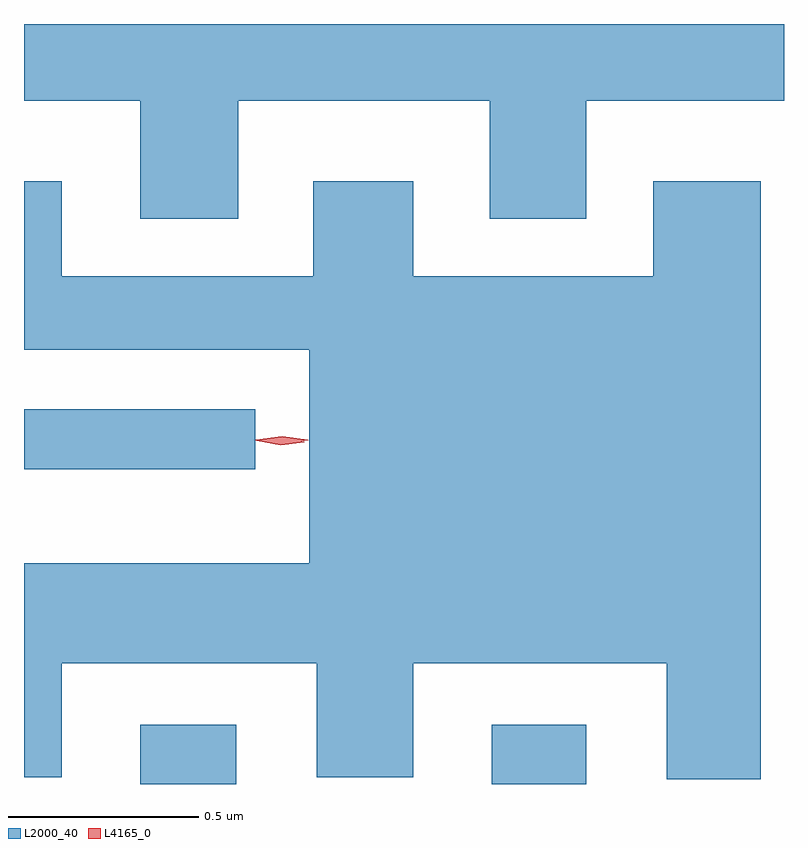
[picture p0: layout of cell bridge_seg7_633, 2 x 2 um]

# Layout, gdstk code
import gdstk
lib = gdstk.Library(unit=1e-6, precision=1e-09)
def R(c, l, rs):  # rectangles x0, y0, x1, y1
    for r in rs: c.add(gdstk.rectangle(r[:2], r[2:], *l))
def P(c, l, *ps):  # polygons
    for p in ps: c.add(gdstk.Polygon(p, *l))
L2000_40 = (2000, 40)
L4165_0 = (4165, 0)

bridge_seg7_633 = lib.new_cell('bridge_seg7_633')
R(bridge_seg7_633, L2000_40, [(787.096,1679.218,787.349,1679.374), (788.021,1679.218,788.269,1679.374), (786.79,1680.046,787.398,1680.204)])
P(bridge_seg7_633, L2000_40, [(787.354,1681.016),(788.016,1681.016),(788.016,1680.706),(788.269,1680.706),(788.269,1681.016),(788.79,1681.016),(788.79,1681.218),(786.79,1681.218),(786.79,1681.016),(787.096,1681.016),(787.096,1680.706),(787.354,1680.706)],
  [(788.729,1680.804),(788.446,1680.804),(788.446,1680.554),(787.814,1680.554),(787.814,1680.804),(787.551,1680.804),(787.551,1680.554),(786.889,1680.554),(786.889,1680.804),(786.79,1680.804),(786.79,1680.361),(787.541,1680.361),(787.541,1679.799),(786.79,1679.799),(786.79,1679.236),(786.889,1679.236),(786.889,1679.536),(787.561,1679.536),(787.561,1679.236),(787.814,1679.236),(787.814,1679.536),(788.481,1679.536),(788.481,1679.231),(788.729,1679.231)])
P(bridge_seg7_633, L4165_0, [(787.469,1680.113),(787.4,1680.123),(787.399,1680.123),(787.4,1680.124),(787.469,1680.133),(787.537,1680.124),(787.538,1680.123),(787.537,1680.123)],
  [(787.465,1680.11),(787.403,1680.121),(787.403,1680.121),(787.403,1680.122),(787.465,1680.13),(787.527,1680.119),(787.528,1680.119),(787.527,1680.118)])

lib.write_gds('bridge_seg7_633.gds')
